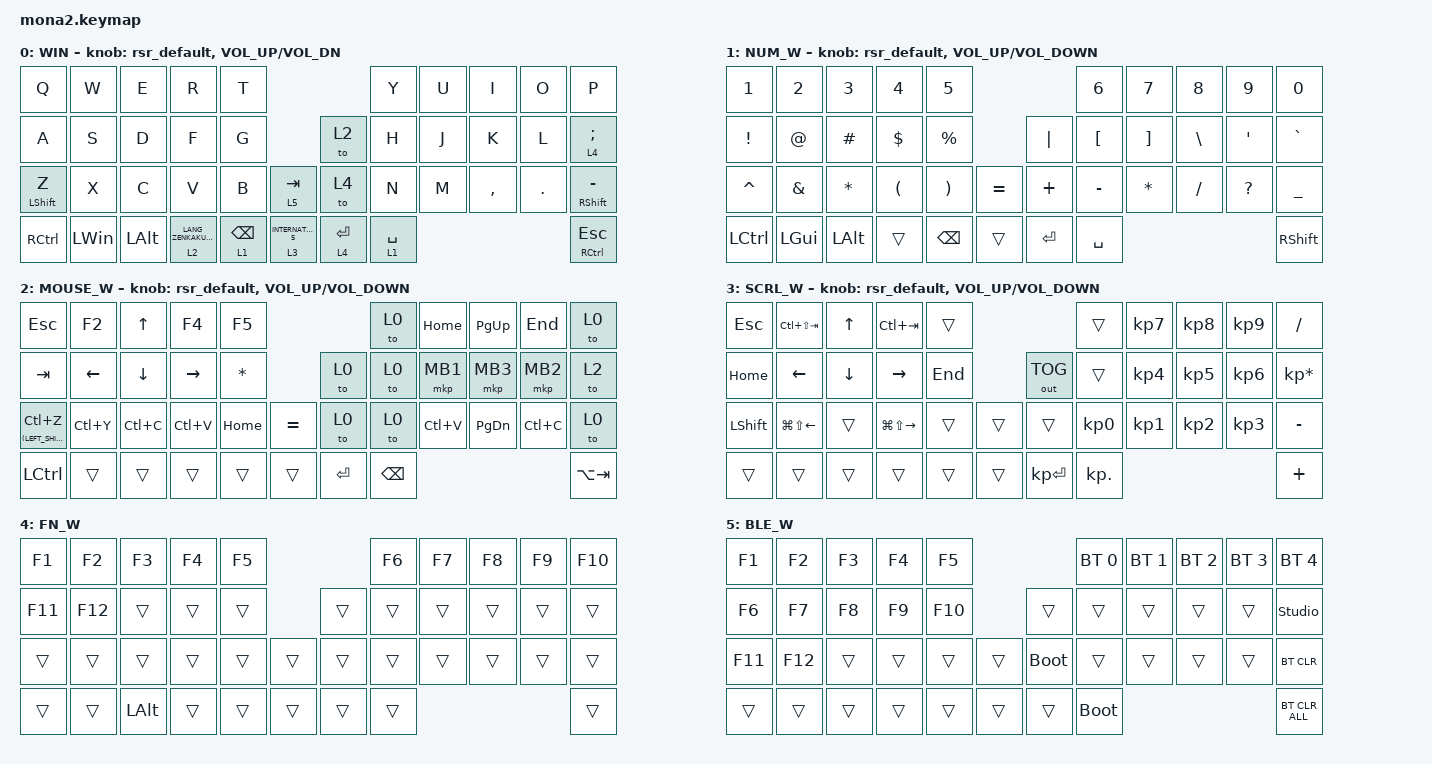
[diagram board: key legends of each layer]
#include <input/processors.dtsi>
#include <dt-bindings/zmk/input_transform.h>
#include <zephyr/dt-bindings/input/input-event-codes.h>
#include <behaviors/runtime-sensor-rotate.dtsi>
#include <behaviors.dtsi>
#include <dt-bindings/zmk/bt.h>
#include <dt-bindings/zmk/keys.h>
#include <dt-bindings/zmk/outputs.h>
#include <dt-bindings/zmk/pointing.h>

/* ZMK 側で 10 が定義済みなので警告回避のため一旦 undef */

#undef ZMK_POINTING_DEFAULT_SCRL_VAL

#define ZMK_POINTING_DEFAULT_SCRL_VAL 100

&mt {
    flavor = "balanced";
    quick-tap-ms = <0>;
};

&lt {
    quick-tap-ms = <200>;
    flavor = "balanced";
};

&msc {
    delay-ms = <0>;
    time-to-max-speed-ms = <0>;
    acceleration-exponent = <0>;
};

/ {
    combos {
        compatible = "zmk,combos";

        layer4_ESC {
            bindings = <&lt 2 ESC>;
            key-positions = <39 38>;
        };

        tab {
            bindings = <&kp TAB>;
            key-positions = <11 12>;
        };
    };

    macros {
        to_layer_0: to_layer_0 {
            compatible = "zmk,behavior-macro-one-param";
            #binding-cells = <1>;
            bindings = <&to 0 &macro_param_1to1 &kp MACRO_PLACEHOLDER>;
            label = "TO_LAYER_0";
        };

        BT0: BT0 {
            compatible = "zmk,behavior-macro";
            #binding-cells = <0>;
            bindings =
                <&tog_off 0 &tog_off 0>,
                <&macro_wait_time 200>,
                <&bt BT_SEL 0>,
                <&macro_wait_time 500>,
                <&tog_on 0>;

            label = "BT0";
        };

        BT1: BT1 {
            compatible = "zmk,behavior-macro";
            #binding-cells = <0>;
            bindings =
                <&tog_off 0 &tog_off 0>,
                <&macro_wait_time 200>,
                <&bt BT_SEL 1>,
                <&macro_wait_time 500>,
                <&tog_on 0>;

            label = "BT1";
        };

        screenshot: screenshot {
            compatible = "zmk,behavior-macro";
            #binding-cells = <0>;
            bindings =
                <&macro_press>,
                <&kp LEFT_GUI &kp RSHIFT>,
                <&macro_wait_time 20>,
                <&macro_tap>,
                <&kp S>,
                <&macro_release>,
                <&kp LEFT_GUI &kp RSHIFT>;

            label = "SCREENSHOT";
        };

        henkan: henkan {
            compatible = "zmk,behavior-macro";
            #binding-cells = <0>;
            bindings =
                <&macro_press>,
                <&kp LEFT_ALT>,
                <&macro_wait_time 20>,
                <&macro_tap>,
                <&kp GRAVE>,
                <&macro_release>,
                <&kp LEFT_ALT>;

            label = "HENKAN";
        };
    };

    behaviors {
        lt_to_layer_0: lt_to_layer_0 {
            compatible = "zmk,behavior-hold-tap";
            label = "LAYER_TAP_TO_0";
            bindings = <&mo>, <&to_layer_0>;

            #binding-cells = <2>;
            tapping-term-ms = <200>;
        };

        tp_repeat_mo1: tp_repeat_mo1 {
            compatible = "zmk,behavior-hold-tap";
            label = "TP_REPEAT_MO1";
            bindings = <&mo>, <&key_repeat>;

            #binding-cells = <2>;
            tapping-term-ms = <200>;
        };

        // エンコーダ用 runtime-configurable sensor rotate
        // デフォルトはスクロール (cw=SCRL_DOWN, ccw=SCRL_UP)
        // DYA Studio Web UI から レイヤーごとに cw/ccw の binding を
        // kp C_VOL_UP/DN や kp LEFT/RIGHT などへ動的変更可能

        rsr_default: rsr_default {
            compatible = "zmk,behavior-runtime-sensor-rotate";
            #sensor-binding-cells = <0>;
            tap-ms = <16>;
            cw-binding = <&msc SCRL_DOWN>;
            ccw-binding = <&msc SCRL_UP>;
        };

        tog_on: toggle_layer_on_only {
            compatible = "zmk,behavior-toggle-layer";
            #binding-cells = <1>;
            display-name = "Toggle Layer On";
            toggle-mode = "on";
        };

        tog_off: toggle_layer_off_only {
            compatible = "zmk,behavior-toggle-layer";
            #binding-cells = <1>;
            display-name = "Toggle Layer Off";
            toggle-mode = "off";
        };

        zfold: zfold {
            compatible = "zmk,behavior-hold-tap";
            label = "ZFOLD";
            bindings = <&kp>, <&kp>;

            #binding-cells = <2>;
            tapping-term-ms = <300>;
            flavor = "hold-preferred";
            quick-tap-ms = <150>;
            hold-while-undecided;
        };

        zfoldZ: zfoldZ {
            compatible = "zmk,behavior-tap-dance";
            label = "ZFOLDZ";
            #binding-cells = <0>;
            bindings = <&zfold LEFT_SHIFT Z>, <&kp LS(Z)>;
        };
    };

    keymap {
        compatible = "zmk,keymap";

        win_layer {
            display-name = "WIN";
            bindings = <
&kp Q             &kp W         &kp E         &kp R                      &kp T                                                             &kp Y                   &kp U  &kp I      &kp O    &kp P
&kp A             &kp S         &kp D         &kp F                      &kp G                                     &to 2                   &kp H                   &kp J  &kp K      &kp L    &lt 4 SEMICOLON
&mt LEFT_SHIFT Z  &kp X         &kp C         &kp V                      &kp B            &lt 5 TAB                &to 4                   &kp N                   &kp M  &kp COMMA  &kp DOT  &mt RIGHT_SHIFT MINUS
&kp RCTRL         &kp LEFT_WIN  &kp LEFT_ALT  &lt 2 LANG_ZENKAKUHANKAKU  &lt 1 BACKSPACE  &lt 3 INTERNATIONAL_5    &lt_to_layer_0 4 ENTER  &lt_to_layer_0 1 SPACE                             &mt RCTRL ESC
            >;

            sensor-bindings = <&rsr_default>, <&inc_dec_kp C_VOL_UP C_VOL_DN>;
        };

        num_win {
            display-name = "NUM_W";
            bindings = <
&kp NUMBER_1     &kp NUMBER_2   &kp NUMBER_3  &kp NUMBER_4          &kp NUMBER_5                                   &kp NUMBER_6      &kp NUMBER_7       &kp NUMBER_8   &kp NUMBER_9      &kp NUMBER_0
&kp EXCLAMATION  &kp AT_SIGN    &kp HASH      &kp DOLLAR            &kp PERCENT                         &kp PIPE   &kp LEFT_BRACKET  &kp RIGHT_BRACKET  &kp BACKSLASH  &kp SINGLE_QUOTE  &kp GRAVE
&kp CARET        &kp AMPERSAND  &kp ASTERISK  &kp LEFT_PARENTHESIS  &kp RIGHT_PARENTHESIS  &kp EQUAL    &kp PLUS   &kp MINUS         &kp STAR           &kp SLASH      &kp QMARK         &kp UNDER
&kp LCTRL        &kp LEFT_GUI   &kp LEFT_ALT  &trans                &kp BACKSPACE          &trans       &kp ENTER  &kp SPACE                                                             &kp RIGHT_SHIFT
            >;

            sensor-bindings =
                <&rsr_default>,
                <&inc_dec_kp C_VOLUME_UP C_VOLUME_DOWN>;
        };

        mouse_win {
            display-name = "MOUSE_W";
            bindings = <
&kp ESCAPE              &kp F2          &kp UP_ARROW  &kp F4           &kp F5                                &to 0          &kp HOME   &kp PAGE_UP    &kp END    &to 0
&kp TAB                 &kp LEFT_ARROW  &kp DOWN      &kp RIGHT_ARROW  &kp ASTERISK               &to 0      &to 0          &mkp MB1   &mkp MB3       &mkp MB2   &to 2
&mt (LEFT_SHIFT) LC(Z)  &kp LC(Y)       &kp LC(C)     &kp LC(V)        &kp HOME      &kp EQUAL    &to 0      &to 0          &kp LC(V)  &kp PAGE_DOWN  &kp LC(C)  &to 0
&kp LCTRL               &trans          &trans        &trans           &trans        &trans       &kp ENTER  &kp BACKSPACE                                       &kp LA(TAB)
            >;

            sensor-bindings =
                <&rsr_default>,
                <&inc_dec_kp C_VOLUME_UP C_VOLUME_DOWN>;
        };

        scroll_win {
            display-name = "SCRL_W";
            bindings = <
&kp ESCAPE      &kp LC(LS(TAB))         &kp UP_ARROW    &kp LC(TAB)              &trans                           &trans           &kp KP_NUMBER_7  &kp KP_NUMBER_8  &kp KP_NUMBER_9  &kp SLASH
&kp HOME        &kp LEFT_ARROW          &kp DOWN_ARROW  &kp RIGHT_ARROW          &kp END            &out OUT_TOG  &trans           &kp KP_NUMBER_4  &kp KP_NUMBER_5  &kp KP_NUMBER_6  &kp KP_ASTERISK
&kp LEFT_SHIFT  &kp LG(LS(LEFT_ARROW))  &trans          &kp LG(LS(RIGHT_ARROW))  &trans   &trans    &trans        &kp KP_NUMBER_0  &kp KP_NUMBER_1  &kp KP_NUMBER_2  &kp KP_NUMBER_3  &kp MINUS
&trans          &trans                  &trans          &trans                   &trans   &trans    &kp KP_ENTER  &kp KP_DOT                                                          &kp PLUS
            >;

            sensor-bindings =
                <&rsr_default>,
                <&inc_dec_kp K_VOLUME_UP K_VOLUME_DOWN>;
        };

        function_win {
            display-name = "FN_W";
            bindings = <
&kp F1   &kp F2   &kp F3        &kp F4  &kp F5                    &kp F6  &kp F7  &kp F8  &kp F9  &kp F10
&kp F11  &kp F12  &trans        &trans  &trans            &trans  &trans  &trans  &trans  &trans  &trans
&trans   &trans   &trans        &trans  &trans  &trans    &trans  &trans  &trans  &trans  &trans  &trans
&trans   &trans   &kp LEFT_ALT  &trans  &trans  &trans    &trans  &trans                          &trans
            >;
        };

        ble_win {
            display-name = "BLE_W";
            bindings = <
&kp F1   &kp F2   &kp F3  &kp F4  &kp F5                          &bt BT_SEL 0  &bt BT_SEL 1  &bt BT_SEL 2  &bt BT_SEL 3  &bt BT_SEL 4
&kp F6   &kp F7   &kp F8  &kp F9  &kp F10            &trans       &trans        &trans        &trans        &trans        &studio_unlock
&kp F11  &kp F12  &trans  &trans  &trans   &trans    &bootloader  &trans        &trans        &trans        &trans        &bt BT_CLR
&trans   &trans   &trans  &trans  &trans   &trans    &trans       &bootloader                                             &bt BT_CLR_ALL
            >;
        };
    };
};
